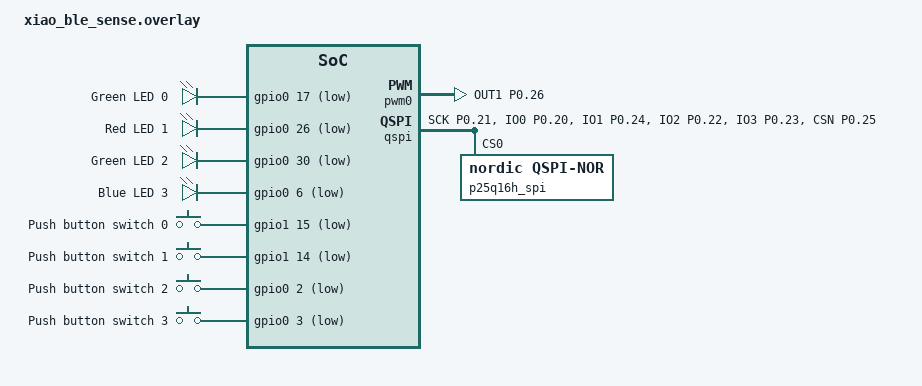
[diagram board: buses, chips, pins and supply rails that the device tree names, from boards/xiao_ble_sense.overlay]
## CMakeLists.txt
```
#
# Copyright (c) 2021 Nordic Semiconductor ASA
#
# SPDX-License-Identifier: LicenseRef-Nordic-5-Clause
#

cmake_minimum_required(VERSION 3.20.0)

get_filename_component(MATTER_MODULE_ROOT $ENV{ZEPHYR_BASE}/../modules/lib/matter REALPATH)

# Set Kconfig root files that will be processed as a first Kconfig for used child images.
set(mcuboot_KCONFIG_ROOT ${MATTER_MODULE_ROOT}/config/nrfconnect/chip-module/Kconfig.mcuboot.root)
set(multiprotocol_rpmsg_KCONFIG_ROOT ${MATTER_MODULE_ROOT}/config/nrfconnect/chip-module/Kconfig.multiprotocol_rpmsg.root)
set(hci_rpmsg_KCONFIG_ROOT ${MATTER_MODULE_ROOT}/config/nrfconnect/chip-module/Kconfig.hci_rpmsg.root)

# For prj.conf the CONF_FILE is empty. In other case extract the exact file name from the path string.
if(CONF_FILE)
    get_filename_component(CONFIG_FILE_NAME ${CONF_FILE} NAME)
endif()

if(NOT CONFIG_FILE_NAME STREQUAL "prj_no_dfu.conf")
    set(PM_STATIC_YML_FILE ${CMAKE_CURRENT_SOURCE_DIR}/configuration/${BOARD}/pm_static_dfu.yml)
endif()

find_package(Zephyr HINTS $ENV{ZEPHYR_BASE})

project(matter-template)

set(COMMON_ROOT ${ZEPHYR_NRF_MODULE_DIR}/samples/matter/common)
set(NLIO_ROOT ${MATTER_MODULE_ROOT}/third_party/nlio/repo)
include(${MATTER_MODULE_ROOT}/config/nrfconnect/app/enable-gnu-std.cmake)
include(${MATTER_MODULE_ROOT}/src/app/chip_data_model.cmake)

# NORDIC SDK APP START
target_include_directories(app PRIVATE
    src
    ${COMMON_ROOT}/src
    ${NLIO_ROOT}/include
    ${MATTER_MODULE_ROOT}/zzz_generated/app-common
)

target_sources(app PRIVATE
    src/app_task.cpp
    src/main.cpp
    src/zap-generated/IMClusterCommandHandler.cpp
    src/zap-generated/callback-stub.cpp
    ${COMMON_ROOT}/src/led_widget.cpp
    src/hs300x/hs300x.cpp
)

if(CONFIG_CHIP_OTA_REQUESTOR)
    target_sources(app PRIVATE ${COMMON_ROOT}/src/ota_util.cpp)
endif()

chip_configure_data_model(app
    INCLUDE_SERVER
    BYPASS_IDL
    GEN_DIR src/zap-generated
    ZAP_FILE ${CMAKE_CURRENT_SOURCE_DIR}/src/template.zap
)
# NORDIC SDK APP END
```

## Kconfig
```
#
# Copyright (c) 2022 Nordic Semiconductor
#
# SPDX-License-Identifier: LicenseRef-Nordic-5-Clause
#
mainmenu "Matter nRF Connect Template Example Application"

# Sample configuration used for Thread networking
if NET_L2_OPENTHREAD

choice OPENTHREAD_NORDIC_LIBRARY_CONFIGURATION
	default OPENTHREAD_NORDIC_LIBRARY_MTD
endchoice

choice OPENTHREAD_DEVICE_TYPE
	default OPENTHREAD_MTD
endchoice

config OPENTHREAD_MTD_SED
	default y
	
endif # NET_L2_OPENTHREAD

source "${ZEPHYR_BASE}/../modules/lib/matter/config/nrfconnect/chip-module/Kconfig.features"
source "${ZEPHYR_BASE}/../modules/lib/matter/config/nrfconnect/chip-module/Kconfig.defaults"
source "Kconfig.zephyr"
```

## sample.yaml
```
sample:
  description: Matter Arduino Sensor
  name: Matter Arduino Sensor
tests:
  sample.matter.sensor.debug:
    build_only: true
    extra_args: CONF_FILE=prj.conf
    integration_platforms:
      - arduino_nano_33_ble_sense
      - xiao_ble_sense
    platform_allow: arduino_nano_33_ble_sense xiao_ble_sense
```

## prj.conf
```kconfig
# Enable CHIP
CONFIG_CHIP=y
CONFIG_CHIP_ENABLE_PAIRING_AUTOSTART=y
CONFIG_CHIP_PROJECT_CONFIG="src/chip_project_config.h"
# 32768 == 0x8000 (example Product ID added temporaly,
# but it must be changed with proper PID from the list:
# https://github.com/project-chip/connectedhomeip/blob/482e6fd03196a6de45465a90003947ef4b86e0b1/docs/examples/discussion/PID_allocation_for_example_apps.md)
CONFIG_CHIP_DEVICE_PRODUCT_ID=32768
CONFIG_STD_CPP14=y

# Add support for LEDs and buttons on Nordic development kits
CONFIG_DK_LIBRARY=y

# Bluetooth Low Energy configuration
CONFIG_BT_DEVICE_NAME="MatterTemplate"

# Other settings
CONFIG_THREAD_NAME=y
CONFIG_MPU_STACK_GUARD=y
CONFIG_RESET_ON_FATAL_ERROR=n
CONFIG_CHIP_LIB_SHELL=y

# Disable NFC commissioning
CONFIG_CHIP_NFC_COMMISSIONING=n

# Disable Matter OTA DFU
CONFIG_CHIP_OTA_REQUESTOR=n

# Disable QSPI NOR
CONFIG_CHIP_QSPI_NOR=n

# Reduce application size
CONFIG_USE_SEGGER_RTT=n

CONFIG_I2C=y

# Enable USB CDC ACM
CONFIG_USB_DEVICE_STACK=y
CONFIG_USB_DEVICE_REMOTE_WAKEUP=n
CONFIG_USB_DEVICE_PRODUCT="Arduino Matter"
CONFIG_USB_DEVICE_VID=0x1915
CONFIG_USB_DEVICE_PID=0x530D
CONFIG_USB_CDC_ACM=y
CONFIG_USB_CDC_ACM_LOG_LEVEL_ERR=y
CONFIG_USB_DEVICE_LOG_LEVEL_ERR=y
CONFIG_UART_LINE_CTRL=y
CONFIG_SHELL_BACKEND_SERIAL_INIT_PRIORITY=51
CONFIG_SHELL_BACKEND_SERIAL_CHECK_DTR=y


CONFIG_PM_OVERRIDE_EXTERNAL_DRIVER_CHECK=y
```

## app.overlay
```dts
/*
 * Copyright (c) 2021 Nordic Semiconductor ASA
 *
 * SPDX-License-Identifier: LicenseRef-Nordic-5-Clause
 */

/ {
	chosen {
		zephyr,console = &cdc_acm_uart0;
		zephyr,shell-uart = &cdc_acm_uart0;
	};
};

&zephyr_udc0 {
	cdc_acm_uart0: cdc_acm_uart0 {
		compatible = "zephyr,cdc-acm-uart";
	};
};


&i2c1 {
	hs3003: hs3003@4a {
		compatible = "i2c-device";
		status = "okay";
		reg = <0x44>;
		label = "hs3003";
	};
};
```

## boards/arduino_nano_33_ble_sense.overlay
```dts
/ {
    chosen {
        zephyr,console = &cdc_acm_uart0;
        zephyr,shell-uart = &cdc_acm_uart0;
    };
};

&zephyr_udc0 {
    cdc_acm_uart0: cdc_acm_uart0 {
        compatible = "zephyr,cdc-acm-uart";
    };
};


&i2c1 {
    hs3003: hs3003@4a {
        compatible = "i2c-device";
        status = "okay";
        reg = <0x44>;
        label = "hs3003";
    };
};
```

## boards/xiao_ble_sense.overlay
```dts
/ {
    chosen {
        nordic,pm-ext-flash = &p25q16h_spi;
    };

    /* These aliases are provided for compatibility with samples */
    aliases {
        spi-flash0 = &p25q16h_spi;
    };

    /delete-property/ arduino_header;
    /delete-property/ connector;
    /delete-property/ arduino_adc;
    /delete-property/ analog-connector;


    /delete-property/ spi1;
    /delete-property/ spi2;
    /delete-property/ uart1;
    /delete-property/ i2c0;
    /delete-property/ arduino_serial;
    /delete-property/ arduino_i2c;

    /delete-node/ spi1;
    /delete-node/ spi2;
    /delete-node/ uart1;
    /delete-node/ i2c0;
    /delete-node/ arduino_serial;
    /delete-node/ arduino_i2c;



    chosen {
        zephyr,entropy = &rng;
    };

    leds {
        compatible = "gpio-leds";
        led0: led_0 {
            gpios = <&gpio0 17 GPIO_ACTIVE_LOW>;
            label = "Green LED 0";
        };
        led1: led_1 {
            gpios = <&gpio0 26 GPIO_ACTIVE_LOW>;
            label = "Red LED 1";
        };
        led2: led_2 {
            gpios = <&gpio0 30 GPIO_ACTIVE_LOW>;
            label = "Green LED 2";
        };
        led3: led_3 {
            gpios = <&gpio0 6 GPIO_ACTIVE_LOW>;
            label = "Blue LED 3";
        };
    };
    buttons {
        compatible = "gpio-keys";
        button0: button_0 {
            gpios = <&gpio1 15 (GPIO_PULL_UP | GPIO_ACTIVE_LOW)>;
            label = "Push button switch 0";
        };
        button1: button_1 {
            gpios = <&gpio1 14 (GPIO_PULL_UP | GPIO_ACTIVE_LOW)>;
            label = "Push button switch 1";
        };
        button2: button_2 {
            gpios = <&gpio0 2 (GPIO_PULL_UP | GPIO_ACTIVE_LOW)>;
            label = "Push button switch 2";
        };
        button3: button_3 {
            gpios = <&gpio0 3 (GPIO_PULL_UP | GPIO_ACTIVE_LOW)>;
            label = "Push button switch 3";
        };
    };



    aliases {
        pwm-led1 = &pwm_led1;
    };

    pwmleds {
        pwm_led1: pwm_led_1 {
            pwms = <&pwm0 1 PWM_MSEC(20) PWM_POLARITY_INVERTED>;
        };
    };

};

/delete-node/ &i2c0;
/delete-node/ &spi1;
/delete-node/ &spi2;
/delete-node/ &uart1;

&pwm0 {
    pinctrl-0 = <&pwm0_default_alt>;
    pinctrl-1 = <&pwm0_sleep_alt>;
    pinctrl-names = "default", "sleep";
};

&uart0 {
    /delete-property/ rts-pin;
    /delete-property/ cts-pin;
    /delete-property/ hw-flow-control;
};


&pinctrl {

    pwm0_default_alt: pwm0_default_alt {
        group1 {
            psels = <NRF_PSEL(PWM_OUT1, 0, 26)>;
            nordic,invert;
        };
    };

    pwm0_sleep_alt: pwm0_sleep_alt {
        group1 {
            psels = <NRF_PSEL(PWM_OUT1, 0, 26)>;
            low-power-enable;
        };
    };

    uart0_default: uart0_default {
        group1 {
            psels = <NRF_PSEL(UART_TX, 1, 11)>,
                    <NRF_PSEL(UART_RX, 1, 12)>;
        };
    };

    uart0_sleep: uart0_sleep {
        group1 {
            psels = <NRF_PSEL(UART_TX, 1, 11)>,
                    <NRF_PSEL(UART_RX, 1, 12)>;
            low-power-enable;
        };
    };


    i2c1_default: i2c1_default {
        group1 {
            psels = <NRF_PSEL(TWIM_SDA, 0, 4)>,
                    <NRF_PSEL(TWIM_SCL, 0, 5)>;
        };
    };

    i2c1_sleep: i2c1_sleep {
        group1 {
            psels = <NRF_PSEL(TWIM_SDA, 0, 4)>,
                    <NRF_PSEL(TWIM_SCL, 0, 5)>;
            low-power-enable;
        };
    };


    spi0_default: spi0_default {
        group1 {
            psels = <NRF_PSEL(SPIM_SCK, 1, 13)>,
                    <NRF_PSEL(SPIM_MOSI, 1, 15)>,
                    <NRF_PSEL(SPIM_MISO, 1, 14)>;
        };
    };

    spi0_sleep: spi0_sleep {
        group1 {
            psels = <NRF_PSEL(SPIM_SCK, 1, 13)>,
                    <NRF_PSEL(SPIM_MOSI, 1, 15)>,
                    <NRF_PSEL(SPIM_MISO, 1, 14)>;
            low-power-enable;
        };
    };

    spi3_default: spi3_default {
        group1 {
            psels = <NRF_PSEL(SPIM_SCK, 0, 21)>,
                    <NRF_PSEL(SPIM_MOSI, 0, 20)>,
                    <NRF_PSEL(SPIM_MISO, 0, 24)>;
        };
    };

    spi3_sleep: spi3_sleep {
        group1 {
            psels = <NRF_PSEL(SPIM_SCK, 0, 21)>,
                    <NRF_PSEL(SPIM_MOSI, 0, 20)>,
                    <NRF_PSEL(SPIM_MISO, 0, 24)>;
            low-power-enable;
        };
    };

    qspi_default: qspi_default {
        group1 {
            psels = <NRF_PSEL(QSPI_SCK, 0, 21)>,
                    <NRF_PSEL(QSPI_IO0, 0, 20)>,
                    <NRF_PSEL(QSPI_IO1, 0, 24)>,
                    <NRF_PSEL(QSPI_IO2, 0, 22)>,
                    <NRF_PSEL(QSPI_IO3, 0, 23)>,
                    <NRF_PSEL(QSPI_CSN, 0, 25)>;
        };
    };

    qspi_sleep: qspi_sleep {
        group1 {
            psels = <NRF_PSEL(QSPI_SCK, 0, 21)>,
                    <NRF_PSEL(QSPI_IO0, 0, 20)>,
                    <NRF_PSEL(QSPI_IO1, 0, 24)>,
                    <NRF_PSEL(QSPI_IO2, 0, 22)>,
                    <NRF_PSEL(QSPI_IO3, 0, 23)>,
                    <NRF_PSEL(QSPI_CSN, 0, 25)>;
            low-power-enable;
        };
    };


};


&qspi {
    status = "okay";
    pinctrl-0 = <&qspi_default>;
    pinctrl-1 = <&qspi_sleep>;
    pinctrl-names = "default", "sleep";

    p25q16h_spi: p25q16h@0 {
        compatible = "nordic,qspi-nor";
        reg = <0>;
        sck-frequency = <2000000>;
        jedec-id = [ 85 60 15  ];
        sfdp-bfp = [ e5 20 f1 ff ff ff ff 00 44 eb 08 6b 08 3b 80 bb ee ff ff ff ff ff 00 ff ff ff 00 ff 0c 20 0f 52 10 d8 08 81  ];
        size = <16777216>;
        has-dpd;
        t-enter-dpd = <3000>;
        t-exit-dpd = <8000>;
    };
};
```

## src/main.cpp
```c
/*
 * Copyright (c) 2021 Nordic Semiconductor ASA
 *
 * SPDX-License-Identifier: LicenseRef-Nordic-5-Clause
 */

#include "app_task.h"
#include <zephyr/logging/log.h>
#include <zephyr/usb/usb_device.h>

LOG_MODULE_REGISTER(app, CONFIG_MATTER_LOG_LEVEL_DBG);

int main()
{
	CHIP_ERROR err = CHIP_NO_ERROR;

	err = chip::System::MapErrorZephyr(usb_enable(NULL));
	if (err != CHIP_NO_ERROR) {
		LOG_ERR("Failed to initialize USB device");
		return EXIT_FAILURE;
	}

	LOG_DBG("Starting App...");
	err = AppTask::Instance().StartApp();

	LOG_ERR("Exited with code %" CHIP_ERROR_FORMAT, err.Format());
	return err == CHIP_NO_ERROR ? EXIT_SUCCESS : EXIT_FAILURE;
}
```

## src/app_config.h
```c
/*
 * Copyright (c) 2022 Nordic Semiconductor ASA
 *
 * SPDX-License-Identifier: LicenseRef-Nordic-5-Clause
 */

#pragma once

/* ---- Template App Config ---- */

#include "board_util.h"

#define FUNCTION_BUTTON 0
#define FUNCTION_BUTTON_MASK BIT(FUNCTION_BUTTON)

#define SYSTEM_STATE_LED 0
#define FACTORY_RESET_SIGNAL_LED 3
```

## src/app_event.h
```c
/*
 * Copyright (c) 2021 Nordic Semiconductor ASA
 *
 * SPDX-License-Identifier: LicenseRef-Nordic-5-Clause
 */

#pragma once

#include <cstdint>

#include "event_types.h"

class LEDWidget;

enum class AppEventType : uint8_t {
	None = 0,
	Button,
	ButtonPushed,
	ButtonReleased,
	Timer,
	UpdateLedState,
	SensorMeasure
};

enum class FunctionEvent : uint8_t { NoneSelected = 0, FactoryReset };

struct AppEvent {
	union {
		struct {
			uint8_t PinNo;
			uint8_t Action;
		} ButtonEvent;
		struct {
			void *Context;
		} TimerEvent;
		struct {
			LEDWidget *LedWidget;
		} UpdateLedStateEvent;
	};

	AppEventType Type{ AppEventType::None };
	EventHandler Handler;
};
```

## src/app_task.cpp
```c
/*
 * Copyright (c) 2021 Nordic Semiconductor ASA
 *
 * SPDX-License-Identifier: LicenseRef-Nordic-5-Clause
 */

#include "app_task.h"
#include "app_config.h"
#include "led_util.h"

#ifdef CONFIG_BOARD_ARDUNO_NANO_33_BLE_SENSE
#include "hs300x/hs300x.h"
#endif

#include "board_util.h"
#include <app-common/zap-generated/attributes/Accessors.h>
#include <app/server/OnboardingCodesUtil.h>
#include <app/server/Server.h>
#include <credentials/DeviceAttestationCredsProvider.h>
#include <credentials/examples/DeviceAttestationCredsExample.h>
#include <lib/support/CHIPMem.h>
#include <lib/support/CodeUtils.h>
#include <platform/CHIPDeviceLayer.h>
#include <system/SystemError.h>

#ifdef CONFIG_CHIP_OTA_REQUESTOR
#include "ota_util.h"
#endif

#include <dk_buttons_and_leds.h>
#include <zephyr/kernel.h>
#include <zephyr/logging/log.h>

LOG_MODULE_DECLARE(app, CONFIG_CHIP_APP_LOG_LEVEL);

using namespace ::chip;
using namespace ::chip::app;
using namespace ::chip::Credentials;
using namespace ::chip::DeviceLayer;

namespace
{
constexpr size_t kAppEventQueueSize = 10;
constexpr uint32_t kFactoryResetTriggerTimeout = 6000;

K_MSGQ_DEFINE(sAppEventQueue, sizeof(AppEvent), kAppEventQueueSize, alignof(AppEvent));
k_timer sFunctionTimer;

LEDWidget sStatusLED;
FactoryResetLEDsWrapper<1> sFactoryResetLEDs{ { FACTORY_RESET_SIGNAL_LED } };

bool sIsNetworkProvisioned = false;
bool sIsNetworkEnabled = false;
bool sHaveBLEConnections = false;
} /* namespace */

namespace LedConsts
{
namespace StatusLed
{
	namespace Unprovisioned
	{
		constexpr uint32_t kOn_ms{ 100 };
		constexpr uint32_t kOff_ms{ kOn_ms };
	} /* namespace Unprovisioned */
	namespace Provisioned
	{
		constexpr uint32_t kOn_ms{ 50 };
		constexpr uint32_t kOff_ms{ 950 };
	} /* namespace Provisioned */

} /* namespace StatusLed */
} /* namespace LedConsts */

k_timer sSensorTimer;

void SensorTimerHandler(k_timer *timer)
{
	AppEvent event;
	event.Type = AppEventType::SensorMeasure;
	event.Handler = AppTask::SensorMeasureHandler;
	AppTask::Instance().PostEvent(event);
}

void StartSensorTimer(uint32_t aTimeoutMs)
{
	k_timer_start(&sSensorTimer, K_MSEC(aTimeoutMs), K_MSEC(aTimeoutMs));
}

void StopSensorTimer()
{
	k_timer_stop(&sSensorTimer);
}

void AppTask::SensorMeasureHandler(const AppEvent &)
{
#ifdef CONFIG_BOARD_ARDUNO_NANO_33_BLE_SENSE
	float temp = HS300x::Instance().ReadTemperature();
	chip::app::Clusters::TemperatureMeasurement::Attributes::MeasuredValue::Set(1, int16_t(temp * 100));

	float hum = HS300x::Instance().ReadHumidity();
	chip::app::Clusters::RelativeHumidityMeasurement::Attributes::MeasuredValue::Set(2, int16_t(hum * 100));
#endif
}

CHIP_ERROR AppTask::Init()
{
	/* Initialize CHIP stack */
	LOG_INF("Init CHIP stack");

	CHIP_ERROR err = chip::Platform::MemoryInit();
	if (err != CHIP_NO_ERROR) {
		LOG_ERR("Platform::MemoryInit() failed");
		return err;
	}

	err = PlatformMgr().InitChipStack();
	if (err != CHIP_NO_ERROR) {
		LOG_ERR("PlatformMgr().InitChipStack() failed");
		return err;
	}

	err = ThreadStackMgr().InitThreadStack();
	if (err != CHIP_NO_ERROR) {
		LOG_ERR("ThreadStackMgr().InitThreadStack() failed: %s", ErrorStr(err));
		return err;
	}

#ifdef CONFIG_OPENTHREAD_MTD_SED
	err = ConnectivityMgr().SetThreadDeviceType(ConnectivityManager::kThreadDeviceType_SleepyEndDevice);
#elif CONFIG_OPENTHREAD_MTD
	err = ConnectivityMgr().SetThreadDeviceType(ConnectivityManager::kThreadDeviceType_MinimalEndDevice);
#else
	err = ConnectivityMgr().SetThreadDeviceType(ConnectivityManager::kThreadDeviceType_Router);
#endif

	if (err != CHIP_NO_ERROR) {
		LOG_ERR("ConnectivityMgr().SetThreadDeviceType() failed: %s", ErrorStr(err));
		return err;
	}

	/* Initialize LEDs */
	LEDWidget::InitGpio();
	LEDWidget::SetStateUpdateCallback(LEDStateUpdateHandler);

	sStatusLED.Init(SYSTEM_STATE_LED);

	UpdateStatusLED();

	/* Initialize buttons */
	int ret = dk_buttons_init(ButtonEventHandler);
	if (ret) {
		LOG_ERR("dk_buttons_init() failed");
		return chip::System::MapErrorZephyr(ret);
	}

	/* Initialize function timer */
	k_timer_init(&sFunctionTimer, &AppTask::FunctionTimerTimeoutCallback, nullptr);
	k_timer_user_data_set(&sFunctionTimer, this);

	/* Initialize CHIP server */
#if CONFIG_CHIP_FACTORY_DATA
	ReturnErrorOnFailure(mFactoryDataProvider.Init());
	SetDeviceInstanceInfoProvider(&mFactoryDataProvider);
	SetDeviceAttestationCredentialsProvider(&mFactoryDataProvider);
	SetCommissionableDataProvider(&mFactoryDataProvider);
#else
	SetDeviceInstanceInfoProvider(&DeviceInstanceInfoProviderMgrImpl());
	SetDeviceAttestationCredentialsProvider(Examples::GetExampleDACProvider());
#endif

	static chip::CommonCaseDeviceServerInitParams initParams;
	(void)initParams.InitializeStaticResourcesBeforeServerInit();

	ReturnErrorOnFailure(chip::Server::GetInstance().Init(initParams));
	ConfigurationMgr().LogDeviceConfig();
	PrintOnboardingCodes(chip::RendezvousInformationFlags(chip::RendezvousInformationFlag::kBLE));

	/*
	 * Add CHIP event handler and start CHIP thread.
	 * Note that all the initialization code should happen prior to this point to avoid data races
	 * between the main and the CHIP threads.
	 */
	PlatformMgr().AddEventHandler(ChipEventHandler, 0);

	err = PlatformMgr().StartEventLoopTask();
	if (err != CHIP_NO_ERROR) {
		LOG_ERR("PlatformMgr().StartEventLoopTask() failed");
		return err;
	}

	// Init Sensor
#ifdef CONFIG_BOARD_ARDUNO_NANO_33_BLE_SENSE
	HS300x::Instance().Init();
#endif

	k_timer_init(&sSensorTimer, &SensorTimerHandler, nullptr);
	k_timer_user_data_set(&sSensorTimer, this);
	StartSensorTimer(10000);

	return CHIP_NO_ERROR;
}

CHIP_ERROR AppTask::StartApp()
{
	ReturnErrorOnFailure(Init());

	AppEvent event = {};

	while (true) {
		k_msgq_get(&sAppEventQueue, &event, K_FOREVER);
		DispatchEvent(event);
	}

	return CHIP_NO_ERROR;
}

void AppTask::ButtonEventHandler(uint32_t buttonState, uint32_t hasChanged)
{
	AppEvent button_event;
	button_event.Type = AppEventType::Button;

	if (FUNCTION_BUTTON_MASK & hasChanged) {
		button_event.ButtonEvent.PinNo = FUNCTION_BUTTON;
		button_event.ButtonEvent.Action =
			static_cast<uint8_t>((FUNCTION_BUTTON_MASK & buttonState) ? AppEventType::ButtonPushed :
										    AppEventType::ButtonReleased);
		button_event.Handler = FunctionHandler;
		PostEvent(button_event);
	}
}

void AppTask::FunctionTimerTimeoutCallback(k_timer *timer)
{
	if (!timer) {
		return;
	}

	AppEvent event;
	event.Type = AppEventType::Timer;
	event.TimerEvent.Context = k_timer_user_data_get(timer);
	event.Handler = FunctionTimerEventHandler;
	PostEvent(event);
}

void AppTask::FunctionTimerEventHandler(const AppEvent &)
{
	if (Instance().mFunction == FunctionEvent::FactoryReset) {
		Instance().mFunction = FunctionEvent::NoneSelected;
		LOG_INF("Factory Reset triggered");

		sStatusLED.Set(true);
		sFactoryResetLEDs.Set(true);

		chip::Server::GetInstance().ScheduleFactoryReset();
	}
}

void AppTask::FunctionHandler(const AppEvent &event)
{
	if (event.ButtonEvent.PinNo != FUNCTION_BUTTON)
		return;

	if (event.ButtonEvent.Action == static_cast<uint8_t>(AppEventType::ButtonPushed)) {
		Instance().StartTimer(kFactoryResetTriggerTimeout);
		Instance().mFunction = FunctionEvent::FactoryReset;
	} else if (event.ButtonEvent.Action == static_cast<uint8_t>(AppEventType::ButtonReleased)) {
		if (Instance().mFunction == FunctionEvent::FactoryReset) {
			sFactoryResetLEDs.Set(false);
			UpdateStatusLED();
			Instance().CancelTimer();
			Instance().mFunction = FunctionEvent::NoneSelected;
			LOG_INF("Factory Reset has been Canceled");
		}
	}
}

void AppTask::LEDStateUpdateHandler(LEDWidget &ledWidget)
{
	AppEvent event;
	event.Type = AppEventType::UpdateLedState;
	event.Handler = UpdateLedStateEventHandler;
	event.UpdateLedStateEvent.LedWidget = &ledWidget;
	PostEvent(event);
}

void AppTask::UpdateLedStateEventHandler(const AppEvent &event)
{
	if (event.Type == AppEventType::UpdateLedState) {
		event.UpdateLedStateEvent.LedWidget->UpdateState();
	}
}

void AppTask::UpdateStatusLED()
{
	/* Update the status LED.
	 *
	 * If IPv6 networking and service provisioned, keep the LED On constantly.
	 *
	 * If the system has BLE connection(s) uptill the stage above, THEN blink the LED at an even
	 * rate of 100ms.
	 *
	 * Otherwise, blink the LED for a very short time. */
	if (sIsNetworkProvisioned && sIsNetworkEnabled) {
		sStatusLED.Set(true);
	} else if (sHaveBLEConnections) {
		sStatusLED.Blink(LedConsts::StatusLed::Unprovisioned::kOn_ms,
				 LedConsts::StatusLed::Unprovisioned::kOff_ms);
	} else {
		sStatusLED.Blink(LedConsts::StatusLed::Provisioned::kOn_ms, LedConsts::StatusLed::Provisioned::kOff_ms);
	}
}

void AppTask::ChipEventHandler(const ChipDeviceEvent *event, intptr_t /* arg */)
{
	switch (event->Type) {
	case DeviceEventType::kCHIPoBLEAdvertisingChange:
		sHaveBLEConnections = ConnectivityMgr().NumBLEConnections() != 0;
		UpdateStatusLED();
		break;
	case DeviceEventType::kDnssdInitialized:
#if CONFIG_CHIP_OTA_REQUESTOR
		InitBasicOTARequestor();
#endif /* CONFIG_CHIP_OTA_REQUESTOR */
		break;
	case DeviceEventType::kThreadStateChange:
		sIsNetworkProvisioned = ConnectivityMgr().IsThreadProvisioned();
		sIsNetworkEnabled = ConnectivityMgr().IsThreadEnabled();
		UpdateStatusLED();
		break;
	default:
		break;
	}
}

void AppTask::CancelTimer()
{
	k_timer_stop(&sFunctionTimer);
}

void AppTask::StartTimer(uint32_t timeoutInMs)
{
	k_timer_start(&sFunctionTimer, K_MSEC(timeoutInMs), K_NO_WAIT);
}

void AppTask::PostEvent(const AppEvent &event)
{
	if (k_msgq_put(&sAppEventQueue, &event, K_NO_WAIT) != 0) {
		LOG_INF("Failed to post event to app task event queue");
	}
}

void AppTask::DispatchEvent(const AppEvent &event)
{
	if (event.Handler) {
		event.Handler(event);
	} else {
		LOG_INF("Event received with no handler. Dropping event.");
	}
}
```

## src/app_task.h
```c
/*
 * Copyright (c) 2021 Nordic Semiconductor ASA
 *
 * SPDX-License-Identifier: LicenseRef-Nordic-5-Clause
 */

#pragma once

#include "app_event.h"
#include "led_widget.h"

#include <platform/CHIPDeviceLayer.h>

#if CONFIG_CHIP_FACTORY_DATA
#include <platform/nrfconnect/FactoryDataProvider.h>
#else
#include <platform/nrfconnect/DeviceInstanceInfoProviderImpl.h>
#endif

struct k_timer;

class AppTask {
public:
	static AppTask &Instance()
	{
		static AppTask sAppTask;
		return sAppTask;
	};

	CHIP_ERROR StartApp();

	static void PostEvent(const AppEvent &event);
	static void SensorMeasureHandler(const AppEvent &);

private:
	CHIP_ERROR Init();

	void CancelTimer();
	void StartTimer(uint32_t timeoutInMs);

	static void DispatchEvent(const AppEvent &event);
	static void UpdateLedStateEventHandler(const AppEvent &event);
	static void FunctionHandler(const AppEvent &event);
	static void FunctionTimerEventHandler(const AppEvent &event);

	static void ChipEventHandler(const chip::DeviceLayer::ChipDeviceEvent *event, intptr_t arg);
	static void ButtonEventHandler(uint32_t buttonState, uint32_t hasChanged);
	static void LEDStateUpdateHandler(LEDWidget &ledWidget);
	static void FunctionTimerTimeoutCallback(k_timer *timer);
	static void UpdateStatusLED();

	FunctionEvent mFunction = FunctionEvent::NoneSelected;
	bool mFunctionTimerActive = false;

#if CONFIG_CHIP_FACTORY_DATA
	chip::DeviceLayer::FactoryDataProvider<chip::DeviceLayer::InternalFlashFactoryData> mFactoryDataProvider;
#endif
};
```
